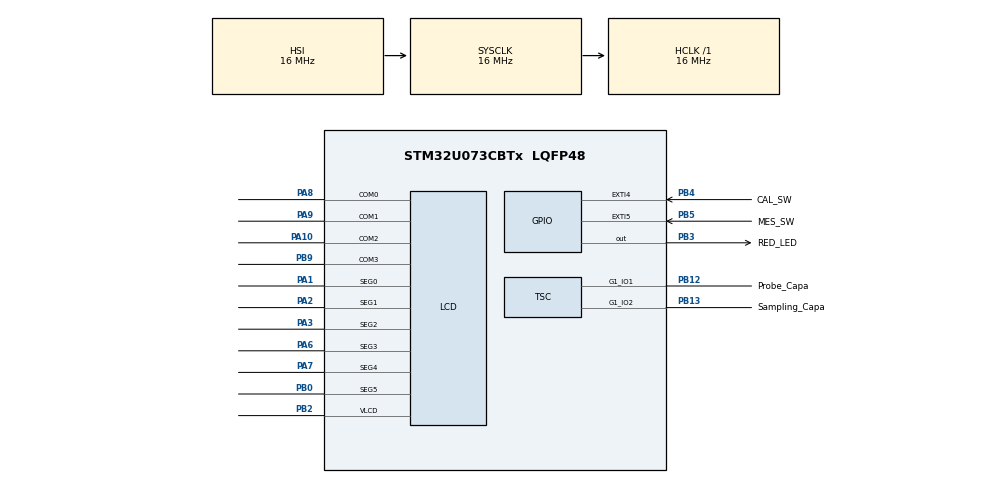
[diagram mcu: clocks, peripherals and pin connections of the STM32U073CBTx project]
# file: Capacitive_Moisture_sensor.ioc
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LCD.Bias=LCD_BIAS_1_2
LCD.Contrast=LCD_CONTRASTLEVEL_3
LCD.VoltageSource=LCD_VOLTAGESOURCE_INTERNAL
Mcu.Family=STM32U0
Mcu.Name=STM32U073CBTx
Mcu.Package=LQFP48
NVIC.EXTI4_15_IRQn=true\:0\:0\:false\:false\:true\:true\:true\:true
NVIC.PriorityGroup=NVIC_PRIORITYGROUP_2
NVIC.RTC_TAMP_IRQn=true\:0\:0\:false\:false\:true\:true\:true\:true
PA1.Mode=SEG0
PA1.Signal=LCD_SEG0
PA10.Mode=1/4 Duty Cycle
PA10.Signal=LCD_COM2
PA2.Mode=SEG1
PA2.Signal=LCD_SEG1
PA3.Mode=SEG2
PA3.Signal=LCD_SEG2
PA6.Mode=SEG3
PA6.Signal=LCD_SEG3
PA7.Mode=SEG4
PA7.Signal=LCD_SEG4
PA8.Mode=1/4 Duty Cycle
PA8.Signal=LCD_COM0
PA9.Mode=1/4 Duty Cycle
PA9.Signal=LCD_COM1
PB0.Mode=SEG5
PB0.Signal=LCD_SEG5
PB12.GPIO_Label=Probe_Capa
PB12.Mode=G1_IO1-Channel
PB12.Signal=TSC_G1_IO1
PB13.GPIO_Label=Sampling_Capa
PB13.Mode=G1_IO2-Sampling
PB13.Signal=TSC_G1_IO2
PB2.Mode=1/4 Duty Cycle
PB2.Signal=LCD_VLCD
PB3.GPIO_Label=RED_LED
PB3.Signal=GPIO_Output
PB4.GPIO_Label=CAL_SW
PB4.GPIO_ModeDefaultEXTI=GPIO_MODE_IT_FALLING
PB4.GPIO_PuPd=GPIO_PULLUP
PB4.Signal=GPXTI4
PB5.GPIO_Label=MES_SW
PB5.GPIO_ModeDefaultEXTI=GPIO_MODE_IT_FALLING
PB5.GPIO_PuPd=GPIO_PULLUP
PB5.Signal=GPXTI5
PB9.Mode=1/4 Duty Cycle
PB9.Signal=LCD_COM3
ProjectManager.HeapSize=0x200
ProjectManager.StackSize=0x400
ProjectManager.TargetToolchain=STM32CubeIDE
RCC.AHBFreq_Value=16000000
RCC.CortexFreq_Value=16000000
RCC.HCLKFreq_Value=16000000
RCC.HSE_VALUE=4000000
RCC.HSI48_VALUE=48000000
RCC.HSI_VALUE=16000000
RCC.LSE_VALUE=32768
RCC.MSI_VALUE=4000000
RCC.SYSCLKFreq_VALUE=16000000
RCC.VCOOutputFreq_Value=64000000
RTC.WakeUpCounter-WakeUp=599
TSC.ChannelIOs-G1_IO1=TSC_GROUP1_IO1
TSC.SamplingIOs-G1_IO2=TSC_GROUP1_IO2
VP_PWR_VS_SECSignals.Mode=Security/Privilege
VP_RTC_VS_RTC_Activate.Mode=RTC_Enabled
VP_RTC_VS_RTC_WakeUp_intern.Mode=WakeUp
board=custom

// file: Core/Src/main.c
/* USER CODE BEGIN Header */
/**
  ******************************************************************************
  * @file           : main.c
  * @brief          : Main program body
  ******************************************************************************
  * @attention
  *
  * Copyright (c) 2026 STMicroelectronics.
  * All rights reserved.
  *
  * This software is licensed under terms that can be found in the LICENSE file
  * in the root directory of this software component.
  * If no LICENSE file comes with this software, it is provided AS-IS.
  *
  ******************************************************************************
  */
/* USER CODE END Header */
#include "main.h"

/* USER CODE BEGIN Includes */
#include "capacitive_sensor.h"
#include "LCD_3DIGIT.h"
#include <stdio.h>
/* USER CODE END Includes */

LCD_HandleTypeDef hlcd;

RTC_HandleTypeDef hrtc;

TSC_HandleTypeDef htsc;

/* USER CODE BEGIN PV */

uint32_t HTSC_value_min = 150;
uint32_t HTSC_value_max = 2600;
uint8_t humidity;
char lcd_txt[4] = "123";

Flag system_flag = {0};
State system_state = START;

uint32_t start_timer = 0;
uint32_t now_timer = 0;

volatile uint8_t StopMode_Activated = 0;

/* USER CODE END PV */

void SystemClock_Config(void);
static void MX_GPIO_Init(void);
static void MX_LCD_Init(void);
static void MX_TSC_Init(void);
static void MX_RTC_Init(void);

/* USER CODE BEGIN 0 */

// Optimized: Converts int to string without using the heavy sprintf library
void mini_sprintf(int n, char *s, uint8_t width, char pad)
{

	s[width-1] = '\0';
    // 1. Keep track of the sign and use the absolute value
    uint8_t is_negative = (n < 0);
    unsigned int num = is_negative ? -n : n;

    for (int8_t i = width - 2; i >= 0; i--) {
        // 2. Fill digits using the absolute value
        if (num > 0 || (i == width - 2 && num == 0)) {
            s[i] = (num % 10) + '0';
            num /= 10;
        }
        // 3. Place the negative sign once digits are done
        else if (is_negative) {
            s[i] = '-';
            is_negative = 0; // Sign is placed, don't place it again
        }
        // 4. Fill remaining space with padding
        else {
            s[i] = pad;
        }
    }
}

uint8_t update_capa_sensor(uint32_t max_val, uint32_t min_val, TSC_HandleTypeDef *htsc)
{
	uint32_t TSC_val1 = 0;
	uint32_t TSC_val2 = 0;
	int hum = 0;
	char hum_txt[4] = "000";

	TSC_val1 = read_capa_value(htsc);
	if (TSC_val1 == 0) return 200;

	TSC_val2 = read_capa_value(htsc);
	if (TSC_val2 == 0) return 200;

	if (TSC_val2 > TSC_val1 * 1.05 || TSC_val2 < TSC_val1 * 0.95) return 200;

	hum = ((TSC_val1 - min_val)*100)/(max_val - min_val);

	hum = 100 - hum;

	if(hum > 100) hum = 100;
	if(hum < 0) hum = 0;

	mini_sprintf(hum, hum_txt, sizeof(hum_txt), ' ');

	LCD_WriteDigit(hum_txt);

	return hum;
}

uint8_t cal_capa_sensor(uint32_t *max_val, uint32_t *min_val, TSC_HandleTypeDef *htsc)
{
	uint32_t TSC_val1 = 0;
	uint32_t TSC_val2 = 0;
	uint32_t start_time = HAL_GetTick();
	uint32_t now = HAL_GetTick();

	LCD_WriteDigit("cal");
	HAL_Delay(4000);

	LCD_WriteDigit("sec");
	start_time = HAL_GetTick();
	while(HAL_GPIO_ReadPin(CAL_SW_GPIO_Port, CAL_SW_Pin))
	{
		now = HAL_GetTick();
		if(now - start_time > 30000) return 0;
	}

	LCD_WriteDigit("*  ");
	HAL_Delay(1000);
	LCD_WriteDigit(" * ");
	HAL_Delay(1000);
	LCD_WriteDigit("  *");
	HAL_Delay(1000);
	LCD_WriteDigit("  o");
	HAL_Delay(1000);
	LCD_WriteDigit(" o ");
	HAL_Delay(1000);

	TSC_val1 = read_capa_value(htsc);
	if (TSC_val1 == 0) return 0;

	TSC_val2 = read_capa_value(htsc);
	if (TSC_val2 == 0) return 0;

	if (TSC_val2 > TSC_val1 * 1.05 || TSC_val2 < TSC_val1 * 0.95) return 0;

	*max_val = TSC_val1 * 1.05;

	LCD_WriteDigit("o  ");
	HAL_Delay(1000);

	LCD_WriteDigit("ok ");
	HAL_Delay(1000);

	LCD_WriteDigit("eau");
	start_time = HAL_GetTick();
	while(HAL_GPIO_ReadPin(CAL_SW_GPIO_Port, CAL_SW_Pin))
	{
		now = HAL_GetTick();
		if(now - start_time > 30000) return 0;
	}

	TSC_val1 = 0;
	TSC_val2 = 0;

	LCD_WriteDigit("*  ");
	HAL_Delay(1000);
	LCD_WriteDigit(" * ");
	HAL_Delay(1000);
	LCD_WriteDigit("  *");
	HAL_Delay(1000);
	LCD_WriteDigit("  o");
	HAL_Delay(1000);
	LCD_WriteDigit(" o ");
	HAL_Delay(1000);

	TSC_val1 = read_capa_value(htsc);
	if (TSC_val1 == 0) return 0;

	TSC_val2 = read_capa_value(htsc);
	if (TSC_val2 == 0) return 0;

	if (TSC_val2 > TSC_val1 * 1.05 || TSC_val2 < TSC_val1 * 0.95) return 0;

	*min_val = TSC_val1 * 0.95;

	LCD_WriteDigit("o  ");
	HAL_Delay(1000);

	LCD_WriteDigit("ok ");
	HAL_Delay(1000);

	return 1;
}
/* USER CODE END 0 */

int main(void)
{

  /* MCU Configuration--------------------------------------------------------*/

  /* Reset of all peripherals, Initializes the Flash interface and the Systick. */
  HAL_Init();

  /* Configure the system clock */
  SystemClock_Config();

  /* Initialize all configured peripherals */
  MX_GPIO_Init();
  MX_LCD_Init();
  MX_TSC_Init();
  MX_RTC_Init();
  /* USER CODE BEGIN 2 */
  HAL_LCD_Clear(&hlcd);

  system_flag.need_measurement = 1;

  /* USER CODE END 2 */

  /* Infinite loop */
  /* USER CODE BEGIN WHILE */
  while (1)
  {

	  switch (system_state)
	  {
	  case START:
		  if(system_flag.need_calibration)
		  {
			  system_state = CALIBRATION;
		  }
		  else if(system_flag.need_measurement)
		  {
			  system_state = MEASUREMENT;
		  }
		  else if(system_flag.low_humidity)
		  {
			  start_timer = HAL_GetTick();
			  system_state = BLINK_LED;
		  }
		  else
		  {
			  system_state = SLEEP_MODE;
		  }
		  break;

	  case CALIBRATION:
		  if(cal_capa_sensor(&HTSC_value_max, &HTSC_value_min, &htsc))
		  {
			  system_flag.need_calibration = 0;
			  system_flag.need_measurement = 1;
		  }
		  else
		  {
			  system_flag.need_calibration = 1;
		  }

		  if(system_flag.need_calibration)
		  {
			  system_state = CALIBRATION;
		  }
		  else if(system_flag.need_measurement)
		  {
			  system_state = MEASUREMENT;
		  }
		  else if(system_flag.low_humidity)
		  {
			  start_timer = HAL_GetTick();
			  system_state = BLINK_LED;
		  }
		  else
		  {
			  system_state = SLEEP_MODE;
		  }

		  break;

	  case MEASUREMENT:
		  humidity = update_capa_sensor(HTSC_value_max, HTSC_value_min, &htsc);

		  if(humidity == 200)
		  {
			  system_flag.need_measurement = 1;
		  }
		  else if(humidity < 20)
		  {
			  system_flag.need_measurement = 0;
			  system_flag.low_humidity = 1;
		  }
		  else
		  {
			  system_flag.need_measurement = 0;
		  }

		  if(system_flag.need_calibration)
		  {
			  system_state = CALIBRATION;
		  }
		  else if(system_flag.need_measurement)
		  {
			  system_state = MEASUREMENT;
		  }
		  else if(system_flag.low_humidity)
		  {
			  start_timer = HAL_GetTick();
			  system_state = BLINK_LED;
		  }
		  else
		  {
			  system_state = SLEEP_MODE;
		  }

		  break;

	  case BLINK_LED:
		  HAL_GPIO_WritePin(RED_LED_GPIO_Port, RED_LED_Pin, SET);
		  now_timer = HAL_GetTick();

		  if(now_timer - start_timer > 3000) system_flag.low_humidity = 0;

		  if(system_flag.need_calibration)
		  {
			  HAL_GPIO_WritePin(RED_LED_GPIO_Port, RED_LED_Pin, RESET);
			  system_state = CALIBRATION;
		  }
		  else if(system_flag.need_measurement)
		  {
			  HAL_GPIO_WritePin(RED_LED_GPIO_Port, RED_LED_Pin, RESET);
			  system_state = MEASUREMENT;
		  }
		  else if(system_flag.low_humidity)
		  {
			  system_state = BLINK_LED;
		  }
		  else
		  {
			  HAL_GPIO_WritePin(RED_LED_GPIO_Port, RED_LED_Pin, RESET);
			  system_state = SLEEP_MODE;
		  }

		  break;

	  case SLEEP_MODE:

		  HAL_RTCEx_SetWakeUpTimer_IT(&hrtc, 1200-1, RTC_WAKEUPCLOCK_CK_SPRE_16BITS, 0);
		  StopMode_Activated = 1;
		  HAL_SuspendTick();
		  HAL_PWREx_EnterSTOP2Mode(PWR_SLEEPENTRY_WFI);

		  HAL_RTCEx_DeactivateWakeUpTimer(&hrtc);

		  system_flag.need_measurement = 1;

		  if(system_flag.need_calibration)
		  {
			  system_state = CALIBRATION;
		  }
		  else if(system_flag.need_measurement)
		  {
			  system_state = MEASUREMENT;
		  }
		  else if(system_flag.low_humidity)
		  {
			  start_timer = HAL_GetTick();
			  system_state = BLINK_LED;
		  }
		  else
		  {
			  system_state = SLEEP_MODE;
		  }

		  break;

	  default:
		  system_state = START;
		  break;
	  }

    /* USER CODE END WHILE */

  }
}

void SystemClock_Config(void)
{
  RCC_OscInitTypeDef RCC_OscInitStruct = {0};
  RCC_ClkInitTypeDef RCC_ClkInitStruct = {0};

  /** Configure the main internal regulator output voltage
  */
  HAL_PWREx_ControlVoltageScaling(PWR_REGULATOR_VOLTAGE_SCALE2);

  /** Initializes the RCC Oscillators according to the specified parameters
  * in the RCC_OscInitTypeDef structure.
  */
  RCC_OscInitStruct.OscillatorType = RCC_OSCILLATORTYPE_HSI|RCC_OSCILLATORTYPE_LSI;
  RCC_OscInitStruct.HSIState = RCC_HSI_ON;
  RCC_OscInitStruct.HSICalibrationValue = RCC_HSICALIBRATION_DEFAULT;
  RCC_OscInitStruct.LSIState = RCC_LSI_ON;
  RCC_OscInitStruct.PLL.PLLState = RCC_PLL_NONE;
  if (HAL_RCC_OscConfig(&RCC_OscInitStruct) != HAL_OK)
  {
    Error_Handler();
  }

  /** Initializes the CPU, AHB and APB buses clocks
  */
  RCC_ClkInitStruct.ClockType = RCC_CLOCKTYPE_HCLK|RCC_CLOCKTYPE_SYSCLK
                              |RCC_CLOCKTYPE_PCLK1;
  RCC_ClkInitStruct.SYSCLKSource = RCC_SYSCLKSOURCE_HSI;
  RCC_ClkInitStruct.AHBCLKDivider = RCC_SYSCLK_DIV1;
  RCC_ClkInitStruct.APB1CLKDivider = RCC_HCLK_DIV1;

  if (HAL_RCC_ClockConfig(&RCC_ClkInitStruct, FLASH_LATENCY_1) != HAL_OK)
  {
    Error_Handler();
  }
}

static void MX_LCD_Init(void)
{

  hlcd.Instance = LCD;
  hlcd.Init.Prescaler = LCD_PRESCALER_1;
  hlcd.Init.Divider = LCD_DIVIDER_16;
  hlcd.Init.Duty = LCD_DUTY_1_4;
  hlcd.Init.Bias = LCD_BIAS_1_2;
  hlcd.Init.VoltageSource = LCD_VOLTAGESOURCE_INTERNAL;
  hlcd.Init.Contrast = LCD_CONTRASTLEVEL_3;
  hlcd.Init.DeadTime = LCD_DEADTIME_0;
  hlcd.Init.PulseOnDuration = LCD_PULSEONDURATION_0;
  hlcd.Init.BlinkMode = LCD_BLINKMODE_OFF;
  hlcd.Init.BlinkFrequency = LCD_BLINKFREQUENCY_DIV8;
  hlcd.Init.MuxSegment = LCD_MUXSEGMENT_DISABLE;
  if (HAL_LCD_Init(&hlcd) != HAL_OK)
  {
    Error_Handler();
  }

}

static void MX_RTC_Init(void)
{

  /** Initialize RTC Only
  */
  hrtc.Instance = RTC;
  hrtc.Init.HourFormat = RTC_HOURFORMAT_24;
  hrtc.Init.AsynchPrediv = 127;
  hrtc.Init.SynchPrediv = 255;
  hrtc.Init.OutPut = RTC_OUTPUT_DISABLE;
  hrtc.Init.OutPutRemap = RTC_OUTPUT_REMAP_NONE;
  hrtc.Init.OutPutPolarity = RTC_OUTPUT_POLARITY_HIGH;
  hrtc.Init.OutPutType = RTC_OUTPUT_TYPE_OPENDRAIN;
  hrtc.Init.OutPutPullUp = RTC_OUTPUT_PULLUP_NONE;
  hrtc.Init.BinMode = RTC_BINARY_NONE;
  if (HAL_RTC_Init(&hrtc) != HAL_OK)
  {
    Error_Handler();
  }

  /** Enable the WakeUp
  */
  if (HAL_RTCEx_SetWakeUpTimer_IT(&hrtc, 599, RTC_WAKEUPCLOCK_RTCCLK_DIV16, 0) != HAL_OK)
  {
    Error_Handler();
  }

}

static void MX_TSC_Init(void)
{

  /** Configure the TSC peripheral
  */
  htsc.Instance = TSC;
  htsc.Init.CTPulseHighLength = TSC_CTPH_2CYCLES;
  htsc.Init.CTPulseLowLength = TSC_CTPL_2CYCLES;
  htsc.Init.SpreadSpectrum = DISABLE;
  htsc.Init.SpreadSpectrumDeviation = 1;
  htsc.Init.SpreadSpectrumPrescaler = TSC_SS_PRESC_DIV1;
  htsc.Init.PulseGeneratorPrescaler = TSC_PG_PRESC_DIV4;
  htsc.Init.MaxCountValue = TSC_MCV_8191;
  htsc.Init.IODefaultMode = TSC_IODEF_OUT_PP_LOW;
  htsc.Init.SynchroPinPolarity = TSC_SYNC_POLARITY_FALLING;
  htsc.Init.AcquisitionMode = TSC_ACQ_MODE_NORMAL;
  htsc.Init.MaxCountInterrupt = DISABLE;
  htsc.Init.ShieldIOs = 0;
  htsc.Init.ChannelIOs = TSC_GROUP1_IO1;
  htsc.Init.SamplingIOs = TSC_GROUP1_IO2;
  if (HAL_TSC_Init(&htsc) != HAL_OK)
  {
    Error_Handler();
  }
  HAL_SYSCFG_DisableTSCComparatorMode();

}

static void MX_GPIO_Init(void)
{
  GPIO_InitTypeDef GPIO_InitStruct = {0};

  /* GPIO Ports Clock Enable */
  __HAL_RCC_GPIOA_CLK_ENABLE();
  __HAL_RCC_GPIOB_CLK_ENABLE();

  /*Configure GPIO pin Output Level */
  HAL_GPIO_WritePin(RED_LED_GPIO_Port, RED_LED_Pin, GPIO_PIN_RESET);

  /*Configure GPIO pin : RED_LED_Pin */
  GPIO_InitStruct.Pin = RED_LED_Pin;
  GPIO_InitStruct.Mode = GPIO_MODE_OUTPUT_PP;
  GPIO_InitStruct.Pull = GPIO_NOPULL;
  GPIO_InitStruct.Speed = GPIO_SPEED_FREQ_LOW;
  HAL_GPIO_Init(RED_LED_GPIO_Port, &GPIO_InitStruct);

  /*Configure GPIO pins : CAL_SW_Pin MES_SW_Pin */
  GPIO_InitStruct.Pin = CAL_SW_Pin|MES_SW_Pin;
  GPIO_InitStruct.Mode = GPIO_MODE_IT_FALLING;
  GPIO_InitStruct.Pull = GPIO_PULLUP;
  HAL_GPIO_Init(GPIOB, &GPIO_InitStruct);

  /* EXTI interrupt init*/
  HAL_NVIC_SetPriority(EXTI4_15_IRQn, 0, 0);
  HAL_NVIC_EnableIRQ(EXTI4_15_IRQn);

}

/* USER CODE BEGIN 4 */
/**
  * @brief  EXTI line detection callback.
  * @param  GPIO_Pin Specifies the port pin connected to corresponding EXTI line.
  * @retval None
  */
void HAL_GPIO_EXTI_Falling_Callback(uint16_t GPIO_Pin)
{

  if(StopMode_Activated == 1)
  {
	  SystemClock_Config();
      HAL_ResumeTick();
      StopMode_Activated = 0;
  }

  if(GPIO_Pin == CAL_SW_Pin)
  {
	  system_flag.need_calibration = 1;
  }
  else if(GPIO_Pin == MES_SW_Pin)
  {
	  system_flag.need_measurement = 1;
  }
  else
  {
	  __NOP();
  }
}

void HAL_RTCEx_WakeUpTimerEventCallback(RTC_HandleTypeDef *hrtc)
{
	SystemClock_Config ();
	HAL_ResumeTick();

	StopMode_Activated = 0;

}

/* USER CODE END 4 */

void Error_Handler(void)
{
  __disable_irq();
  while (1)
  {
  }
}
